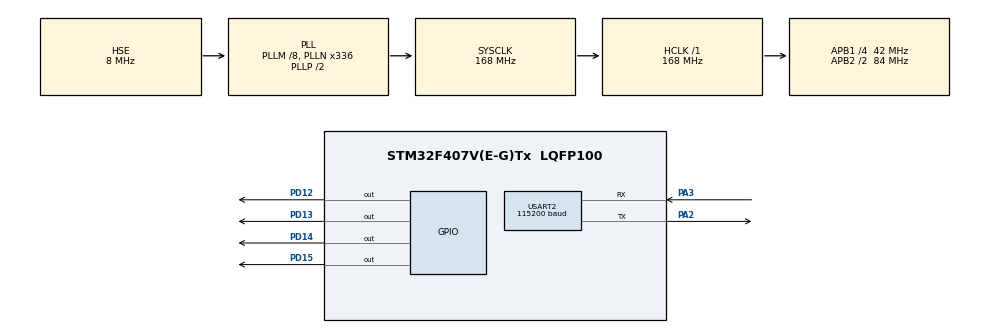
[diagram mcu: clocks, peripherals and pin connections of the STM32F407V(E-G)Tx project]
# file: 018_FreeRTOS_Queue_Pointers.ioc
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FREERTOS.Tasks01=defaultTask,24,128,StartDefaultTask,Default,NULL,Dynamic,NULL,NULL
Mcu.Family=STM32F4
Mcu.Name=STM32F407V(E-G)Tx
Mcu.Package=LQFP100
NVIC.PriorityGroup=NVIC_PRIORITYGROUP_4
NVIC.TIM8_TRG_COM_TIM14_IRQn=true\:15\:0\:false\:false\:true\:false\:false\:true\:true
NVIC.TimeBase=TIM8_TRG_COM_TIM14_IRQn
NVIC.TimeBaseIP=TIM14
NVIC.USART2_IRQn=true\:5\:0\:false\:false\:true\:true\:true\:true\:true
PA2.Mode=Asynchronous
PA2.Signal=USART2_TX
PA3.Mode=Asynchronous
PA3.Signal=USART2_RX
PD12.Signal=GPIO_Output
PD13.Signal=GPIO_Output
PD14.Signal=GPIO_Output
PD15.Signal=GPIO_Output
PH0-OSC_IN.Mode=HSE-External-Oscillator
PH0-OSC_IN.Signal=RCC_OSC_IN
PH1-OSC_OUT.Mode=HSE-External-Oscillator
PH1-OSC_OUT.Signal=RCC_OSC_OUT
ProjectManager.HeapSize=0x200
ProjectManager.StackSize=0x400
ProjectManager.TargetToolchain=STM32CubeIDE
RCC.48MHZClocksFreq_Value=48000000
RCC.AHBFreq_Value=168000000
RCC.APB1CLKDivider=RCC_HCLK_DIV4
RCC.APB1Freq_Value=42000000
RCC.APB1TimFreq_Value=84000000
RCC.APB2CLKDivider=RCC_HCLK_DIV2
RCC.APB2Freq_Value=84000000
RCC.APB2TimFreq_Value=168000000
RCC.CortexFreq_Value=168000000
RCC.HCLKFreq_Value=168000000
RCC.HSE_VALUE=8000000
RCC.HSI_VALUE=16000000
RCC.LSE_VALUE=32768
RCC.PLLM=8
RCC.PLLN=336
RCC.PLLQ=7
RCC.PLLSourceVirtual=RCC_PLLSOURCE_HSE
RCC.SYSCLKFreq_VALUE=168000000
RCC.SYSCLKSource=RCC_SYSCLKSOURCE_PLLCLK
RCC.VCOOutputFreq_Value=336000000
USART2.BaudRate=115200
USART2.VirtualMode=VM_ASYNC
VP_FREERTOS_VS_CMSIS_V2.Mode=CMSIS_V2
VP_SYS_VS_tim14.Mode=TIM14
board=STM32F407G-DISC1

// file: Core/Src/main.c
/* USER CODE BEGIN Header */
/**
  ******************************************************************************
  * @file           : main.c
  * @brief          : Main program body
  ******************************************************************************
  * @attention
  *
  * Copyright (c) 2023 STMicroelectronics.
  * All rights reserved.
  *
  * This software is licensed under terms that can be found in the LICENSE file
  * in the root directory of this software component.
  * If no LICENSE file comes with this software, it is provided AS-IS.
  *
  ******************************************************************************
  */
/* USER CODE END Header */
#include "main.h"
/* USER CODE BEGIN Includes */
#include "FreeRTOS.h"
#include "task.h"
#include "queue.h"
#include <stdio.h>
#include <string.h>
/* USER CODE END Includes */

UART_HandleTypeDef huart2;

/* Definitions for defaultTask */
/* USER CODE BEGIN PV */
/* Declare a variable of type QueueHandle_t to hold the handle of the queue being created. */
QueueHandle_t xPointerQueue;
/* USER CODE END PV */

void SystemClock_Config(void);
static void MX_GPIO_Init(void);
static void MX_USART2_UART_Init(void);

/* USER CODE BEGIN 0 */
/* A task that obtains a buffer, writes a string to the buffer, then sends the address of the
buffer to the queue created in Listing 52. */
void vStringSendingTask(void *pvParameters)
{
	char *pcStringToSend;
	const size_t xMaxStringLength = 50;
	BaseType_t xStringNumber = 0;

	for(;;)
	{
		/* Obtain a buffer that is at least xMaxStringLength characters big. The implementation
		 of prvGetBuffer() is not shown – it might obtain the buffer from a pool of pre-allocated
		 buffers, or just allocate the buffer dynamically. */
		pcStringToSend = (char *)pvPortMalloc(xMaxStringLength);
		/* Write a string into the buffer. */
		snprintf(pcStringToSend, xMaxStringLength, "String number %ld\r\n", xStringNumber);

		/* Increment the counter so the string is different on each iteration of this task. */
		xStringNumber++;
		/* Send the address of the buffer to the queue that was created in Listing 52. The
		 address of the buffer is stored in the pcStringToSend variable.*/
		//HAL_UART_Transmit(&huart2, (uint8_t *)pcStringToSend, strlen(pcStringToSend), HAL_MAX_DELAY);
		xQueueSend(xPointerQueue, &pcStringToSend, portMAX_DELAY);

	}
}
/* A task that receives the address of a buffer from the queue created in Listing 52, and
written to in Listing 53. The buffer contains a string, which is printed out. */
void vStringReceivingTask(void *pvParameters)
{
	char *pcReceivedString;

	for(;;)
	{
		/* Receive the address of a buffer. */
		xQueueReceive(xPointerQueue, &pcReceivedString, portMAX_DELAY);

		/* The buffer holds a string, print it out. */
		HAL_UART_Transmit(&huart2, (uint8_t *)pcReceivedString, strlen(pcReceivedString), HAL_MAX_DELAY);

		/* The buffer is not required anymore - release it so it can be freed, or re-used */
		vPortFree(pcReceivedString);
	}
}

/* USER CODE END 0 */

int main(void)
{

  /* MCU Configuration--------------------------------------------------------*/

  /* Reset of all peripherals, Initializes the Flash interface and the Systick. */
  HAL_Init();

  /* Configure the system clock */
  SystemClock_Config();

  /* Initialize all configured peripherals */
  MX_GPIO_Init();
  MX_USART2_UART_Init();
  /* USER CODE BEGIN 2 */
  /* Create a queue that can hold a maximum of 5 pointers, in this case character pointers. */
  xPointerQueue = xQueueCreate(5, sizeof(char *));
  xTaskCreate(vStringSendingTask, "Sending Task", 1000, NULL, 1, NULL);
  xTaskCreate(vStringReceivingTask,"Receiving Task", 1000, NULL, 2, NULL);
  vTaskStartScheduler();
  /* USER CODE END 2 */

  /* Init scheduler */

  /* Create the thread(s) */
  /* creation of defaultTask */

  /* Start scheduler */
  /* We should never get here as control is now taken by the scheduler */
  /* Infinite loop */
  while (1)
  {

  }
}

void SystemClock_Config(void)
{
  RCC_OscInitTypeDef RCC_OscInitStruct = {0};
  RCC_ClkInitTypeDef RCC_ClkInitStruct = {0};

  /** Configure the main internal regulator output voltage
  */
  __HAL_RCC_PWR_CLK_ENABLE();
  __HAL_PWR_VOLTAGESCALING_CONFIG(PWR_REGULATOR_VOLTAGE_SCALE1);

  /** Initializes the RCC Oscillators according to the specified parameters
  * in the RCC_OscInitTypeDef structure.
  */
  RCC_OscInitStruct.OscillatorType = RCC_OSCILLATORTYPE_HSE;
  RCC_OscInitStruct.HSEState = RCC_HSE_ON;
  RCC_OscInitStruct.PLL.PLLState = RCC_PLL_ON;
  RCC_OscInitStruct.PLL.PLLSource = RCC_PLLSOURCE_HSE;
  RCC_OscInitStruct.PLL.PLLM = 8;
  RCC_OscInitStruct.PLL.PLLN = 336;
  RCC_OscInitStruct.PLL.PLLP = RCC_PLLP_DIV2;
  RCC_OscInitStruct.PLL.PLLQ = 7;
  if (HAL_RCC_OscConfig(&RCC_OscInitStruct) != HAL_OK)
  {
    Error_Handler();
  }

  /** Initializes the CPU, AHB and APB buses clocks
  */
  RCC_ClkInitStruct.ClockType = RCC_CLOCKTYPE_HCLK|RCC_CLOCKTYPE_SYSCLK
                              |RCC_CLOCKTYPE_PCLK1|RCC_CLOCKTYPE_PCLK2;
  RCC_ClkInitStruct.SYSCLKSource = RCC_SYSCLKSOURCE_PLLCLK;
  RCC_ClkInitStruct.AHBCLKDivider = RCC_SYSCLK_DIV1;
  RCC_ClkInitStruct.APB1CLKDivider = RCC_HCLK_DIV4;
  RCC_ClkInitStruct.APB2CLKDivider = RCC_HCLK_DIV2;

  if (HAL_RCC_ClockConfig(&RCC_ClkInitStruct, FLASH_LATENCY_5) != HAL_OK)
  {
    Error_Handler();
  }
}

static void MX_USART2_UART_Init(void)
{

  huart2.Instance = USART2;
  huart2.Init.BaudRate = 115200;
  huart2.Init.WordLength = UART_WORDLENGTH_8B;
  huart2.Init.StopBits = UART_STOPBITS_1;
  huart2.Init.Parity = UART_PARITY_NONE;
  huart2.Init.Mode = UART_MODE_TX_RX;
  huart2.Init.HwFlowCtl = UART_HWCONTROL_NONE;
  huart2.Init.OverSampling = UART_OVERSAMPLING_16;
  if (HAL_UART_Init(&huart2) != HAL_OK)
  {
    Error_Handler();
  }

}

static void MX_GPIO_Init(void)
{
  GPIO_InitTypeDef GPIO_InitStruct = {0};

  /* GPIO Ports Clock Enable */
  __HAL_RCC_GPIOH_CLK_ENABLE();
  __HAL_RCC_GPIOA_CLK_ENABLE();
  __HAL_RCC_GPIOD_CLK_ENABLE();

  /*Configure GPIO pin Output Level */
  HAL_GPIO_WritePin(GPIOD, GPIO_PIN_12|GPIO_PIN_13|GPIO_PIN_14|GPIO_PIN_15, GPIO_PIN_RESET);

  /*Configure GPIO pins : PD12 PD13 PD14 PD15 */
  GPIO_InitStruct.Pin = GPIO_PIN_12|GPIO_PIN_13|GPIO_PIN_14|GPIO_PIN_15;
  GPIO_InitStruct.Mode = GPIO_MODE_OUTPUT_PP;
  GPIO_InitStruct.Pull = GPIO_NOPULL;
  GPIO_InitStruct.Speed = GPIO_SPEED_FREQ_LOW;
  HAL_GPIO_Init(GPIOD, &GPIO_InitStruct);

}

void HAL_TIM_PeriodElapsedCallback(TIM_HandleTypeDef *htim)
{
  if (htim->Instance == TIM14) {
    HAL_IncTick();
  }
}

void Error_Handler(void)
{
  __disable_irq();
  while (1)
  {
  }
}
